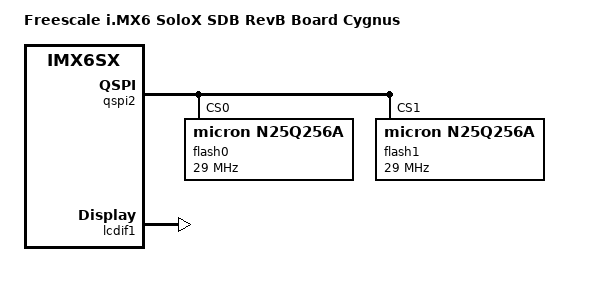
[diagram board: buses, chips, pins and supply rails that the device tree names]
/*
 * Copyright (C) 2015 Freescale Semiconductor, Inc.
 *
 * This program is free software; you can redistribute it and/or modify
 * it under the terms of the GNU General Public License version 2 as
 * published by the Free Software Foundation.
 */

#include "imx6sx-sdb.dtsi"

/ {
	model = "Freescale i.MX6 SoloX SDB RevB Board Cygnus";

	regulators {
		/* Transceiver EN/STBY is active low on RevB board */
		reg_can_stby: regulator@10 {
			gpio = <&gpio4 27 GPIO_ACTIVE_LOW>;
		};
	};
};

&cpu0 {
	operating-points = <
		/* kHz    uV */
		996000  1250000
		792000  1175000
		396000  1175000
		198000	1175000
		>;
	fsl,soc-operating-points = <
		/* ARM kHz      SOC uV */
		996000	1250000
		792000	1175000
		396000	1175000
		198000	1175000
	>;
	arm-supply = <&sw1a_reg>;
	soc-supply = <&sw1a_reg>;
	fsl,arm-soc-shared = <1>;
};

&qspi2 {
	pinctrl-names = "default";
	pinctrl-0 = <&pinctrl_qspi2>;
	status = "okay";

#ifndef SPANSIONFLASH
	ddrsmp=<0>;

	flash0: n25q256a@0 {
		#address-cells = <1>;
		#size-cells = <1>;
		compatible = "micron,n25q256a";
		spi-max-frequency = <29000000>;
		reg = <0>;
	};

	flash1: n25q256a@1 {
		#address-cells = <1>;
		#size-cells = <1>;
		compatible = "micron,n25q256a";
		spi-max-frequency = <29000000>;
		reg = <1>;
	};
#endif
};

&usbphy1 {
	tx-d-cal = <0x5>;
};

&usbphy2 {
	tx-d-cal = <0x5>;
};

&lcdif1 {
	pinctrl-names = "default";
	pinctrl-0 = <&pinctrl_lcd>;
	lcd-supply = <&reg_lcd_3v3>;
	display = <&display0>;
	status = "okay";

	display0: display {
		bits-per-pixel = <16>;
		bus-width = <24>;

		display-timings {
			native-mode = <&timing0>;
			timing0: timing0 {
				clock-frequency = <33500000>;
				hactive = <800>;
				vactive = <480>;
				hback-porch = <89>;
				hfront-porch = <164>;
				vback-porch = <23>;
				vfront-porch = <10>;
				hsync-len = <10>;
				vsync-len = <10>;
				hsync-active = <0>;
				vsync-active = <0>;
				de-active = <1>;
				pixelclk-active = <0>;
			};
		};
	};
};
